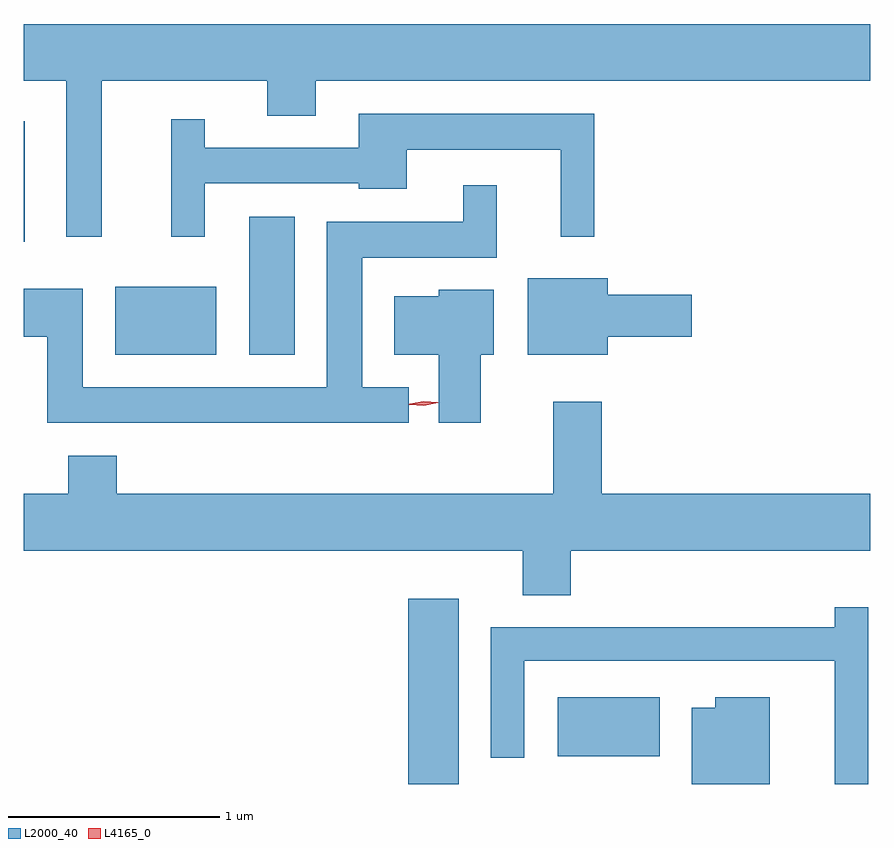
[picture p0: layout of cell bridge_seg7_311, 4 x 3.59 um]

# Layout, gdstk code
import gdstk
lib = gdstk.Library(unit=1e-6, precision=1e-09)
def R(c, l, rs):  # rectangles x0, y0, x1, y1
    for r in rs: c.add(gdstk.rectangle(r[:2], r[2:], *l))
def P(c, l, *ps):  # polygons
    for p in ps: c.add(gdstk.Polygon(p, *l))
L2000_40 = (2000, 40)
L4165_0 = (4165, 0)

bridge_seg7_311 = lib.new_cell('bridge_seg7_311')
R(bridge_seg7_311, L2000_40, [(1226.136,1773.154,1226.374,1774.029), (1226.841,1773.286,1227.324,1773.564), (1224.751,1775.181,1225.229,1775.504), (1225.386,1775.181,1225.599,1775.834), (1224.319,1775.716,1224.324,1776.284)])
P(bridge_seg7_311, L2000_40, [(1224.689,1776.476),(1225.471,1776.476),(1225.471,1776.311),(1225.699,1776.311),(1225.699,1776.476),(1228.319,1776.476),(1228.319,1776.744),(1224.319,1776.744),(1224.319,1776.476),(1224.521,1776.476),(1224.521,1775.738),(1224.689,1775.738)],
  [(1225.174,1775.991),(1225.901,1775.991),(1225.901,1775.966),(1226.129,1775.966),(1226.129,1776.151),(1226.856,1776.151),(1226.856,1775.738),(1227.014,1775.738),(1227.014,1776.319),(1225.901,1776.319),(1225.901,1776.159),(1225.174,1776.159),(1225.174,1776.293),(1225.016,1776.293),(1225.016,1775.738),(1225.174,1775.738)],
  [(1226.138,1775.029),(1225.919,1775.029),(1225.919,1775.641),(1226.554,1775.641),(1226.554,1775.983),(1226.396,1775.983),(1226.396,1775.809),(1225.751,1775.809),(1225.751,1775.029),(1224.599,1775.029),(1224.599,1775.494),(1224.319,1775.494),(1224.319,1775.266),(1224.431,1775.266),(1224.431,1774.861),(1226.138,1774.861)],
  [(1227.079,1775.266),(1227.474,1775.266),(1227.474,1775.464),(1227.079,1775.464),(1227.079,1775.544),(1226.701,1775.544),(1226.701,1775.181),(1227.079,1775.181)],
  [(1226.479,1775.181),(1226.539,1775.181),(1226.539,1775.489),(1226.281,1775.489),(1226.281,1775.459),(1226.071,1775.459),(1226.071,1775.181),(1226.281,1775.181),(1226.281,1774.861),(1226.479,1774.861)],
  [(1226.904,1774.256),(1228.319,1774.256),(1228.319,1774.524),(1227.049,1774.524),(1227.049,1774.959),(1226.821,1774.959),(1226.821,1774.524),(1224.759,1774.524),(1224.759,1774.704),(1224.531,1774.704),(1224.531,1774.524),(1224.319,1774.524),(1224.319,1774.256),(1226.676,1774.256),(1226.676,1774.046),(1226.904,1774.046)],
  [(1228.309,1773.988),(1228.151,1773.988),(1228.151,1773.894),(1226.526,1773.894),(1226.526,1773.278),(1226.684,1773.278),(1226.684,1773.736),(1228.151,1773.736),(1228.151,1773.154),(1228.309,1773.154)],
  [(1227.844,1773.564),(1227.586,1773.564),(1227.586,1773.514),(1227.476,1773.514),(1227.476,1773.154),(1227.844,1773.154)])
P(bridge_seg7_311, L4165_0, [(1226.209,1774.941),(1226.14,1774.946),(1226.139,1774.947),(1226.14,1774.947),(1226.208,1774.961),(1226.278,1774.955),(1226.278,1774.955),(1226.278,1774.954)],
  [(1226.209,1774.944),(1226.143,1774.949),(1226.142,1774.95),(1226.143,1774.95),(1226.208,1774.963),(1226.275,1774.958),(1226.275,1774.957),(1226.275,1774.957)])

lib.write_gds('bridge_seg7_311.gds')
